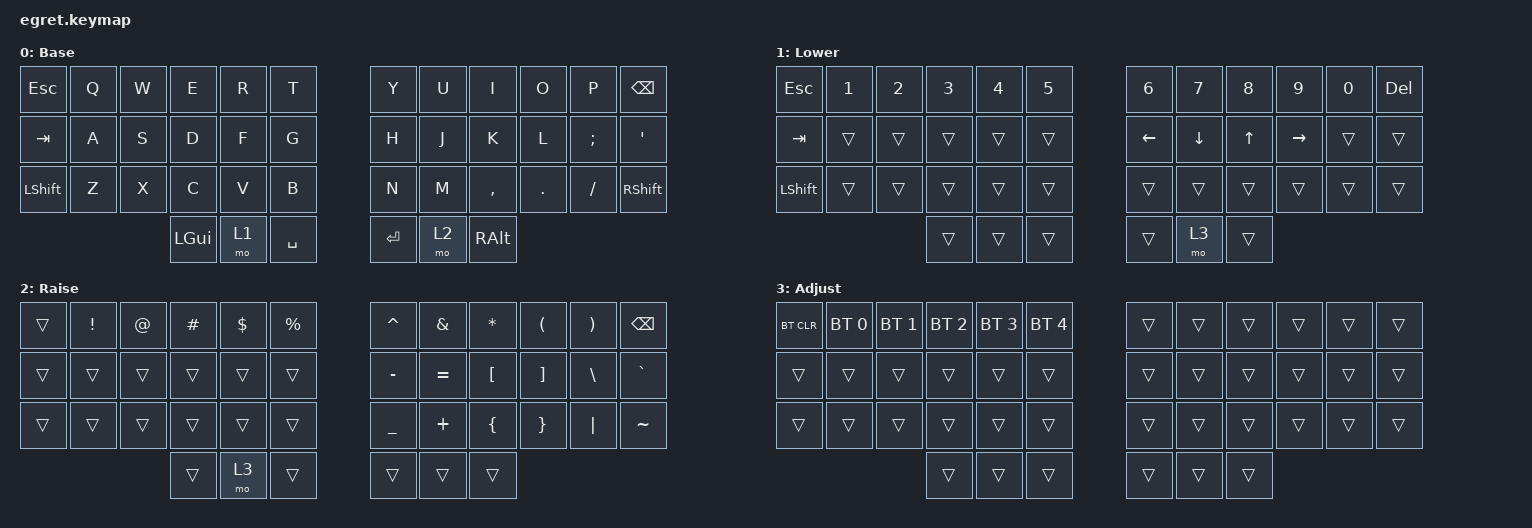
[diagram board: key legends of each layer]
#include <behaviors.dtsi>
#include <dt-bindings/zmk/keys.h>
#include <dt-bindings/zmk/bt.h>

/ {
    keymap {
        compatible = "zmk,keymap";

        default_layer {
            display-name = "Base";
            bindings = <
&kp ESC   &kp Q  &kp W    &kp E    &kp R     &kp T      &kp Y  &kp U     &kp I     &kp O    &kp P    &kp BSPC
&kp TAB   &kp A  &kp S    &kp D    &kp F     &kp G      &kp H  &kp J     &kp K     &kp L    &kp SEMI &kp SQT
&kp LSHFT &kp Z  &kp X    &kp C    &kp V     &kp B      &kp N  &kp M     &kp COMMA &kp DOT  &kp FSLH &kp RSHFT
                 &kp LGUI &mo 1    &kp SPACE            &kp RET &mo 2    &kp RALT
            >;
        };

        lower_layer {
            display-name = "Lower";
            bindings = <
&kp ESC   &kp N1 &kp N2   &kp N3   &kp N4    &kp N5     &kp N6 &kp N7    &kp N8    &kp N9   &kp N0   &kp DEL
&kp TAB   &trans &trans   &trans   &trans    &trans     &kp LEFT &kp DOWN &kp UP   &kp RIGHT &trans  &trans
&kp LSHFT &trans &trans   &trans   &trans    &trans     &trans &trans    &trans    &trans   &trans   &trans
                 &trans   &trans   &trans               &trans &mo 3     &trans
            >;
        };

        raise_layer {
            display-name = "Raise";
            bindings = <
&trans    &kp EXCL &kp AT &kp HASH &kp DLLR &kp PRCNT   &kp CARET &kp AMPS &kp ASTRK &kp LPAR &kp RPAR &kp BSPC
&trans    &trans   &trans &trans   &trans   &trans      &kp MINUS &kp EQUAL &kp LBKT &kp RBKT &kp BSLH &kp GRAVE
&trans    &trans   &trans &trans   &trans   &trans      &kp UNDER &kp PLUS  &kp LBRC &kp RBRC &kp PIPE &kp TILDE
                   &trans &mo 3    &trans               &trans    &trans    &trans
            >;
        };

        adjust_layer {
            display-name = "Adjust";
            bindings = <
&bt BT_CLR &bt BT_SEL 0 &bt BT_SEL 1 &bt BT_SEL 2 &bt BT_SEL 3 &bt BT_SEL 4   &trans &trans &trans &trans &trans &trans
&trans     &trans       &trans       &trans       &trans       &trans         &trans &trans &trans &trans &trans &trans
&trans     &trans       &trans       &trans       &trans       &trans         &trans &trans &trans &trans &trans &trans
                        &trans       &trans       &trans                      &trans &trans &trans
            >;
        };
    };
};
